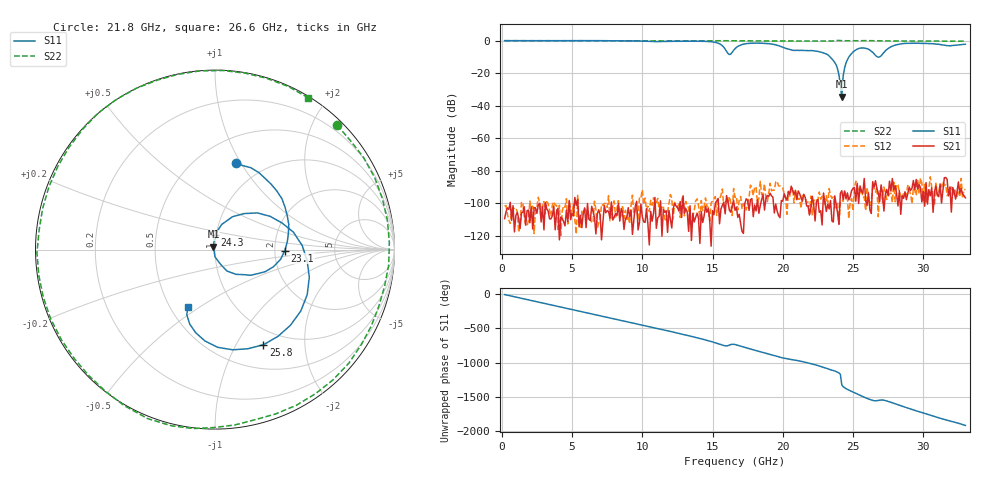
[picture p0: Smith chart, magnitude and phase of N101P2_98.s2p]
# GHZ S RI R 50
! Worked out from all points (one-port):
!   329 points, 200 MHz to 33 GHz, reference 50 ohm
!   lowest |S11| = -34.3 dB at 24.2 GHz (marker M1), VSWR 1.04, Z = 49.1 + j1.66 ohm
!   |S11| at or under -10 dB: 23.37 GHz to 24.71 GHz (1.342 GHz wide, 5.58 % of centre); 26.75 GHz to 26.89 GHz (135.6 MHz wide, 0.506 % of centre)
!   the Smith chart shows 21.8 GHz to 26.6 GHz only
!   S11 on the Smith chart (normalised r, x): 21.8 GHz: 0.75, +0.95; 23.1 GHz: 2.27, -0.03; 24.3 GHz: 0.99, +0.16; 25.8 GHz: 0.79, -1.30; 26.6 GHz: 0.62, -0.45
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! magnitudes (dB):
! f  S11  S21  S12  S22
! 200 MHz  0.0  -109.3  -101.8  0.0
! 5.7 GHz  0.0  -114.9  -104.7  0.0
! 11.2 GHz  -0.6  -107.9  -103.6  -0.1
! 15.1 GHz  -0.9  -107.0  -97.5  -0.1
! 16.2 GHz  -8.5  -104.1  -95.8  -0.1
! 16.6 GHz  -5.0  -104.2  -96.4  -0.1
! 18.4 GHz  -1.5  -101.2  -86.4  -0.2
! 21.8 GHz  -6.1  -101.6  -99.1  -0.2
! 22.1 GHz  -6.1  -95.6  -107.3  -0.2
! 23.1 GHz  -8.2  -105.0  -95.2  -0.2
! 23.8 GHz  -14.8  -100.6  -101.9  0.0
! 24 GHz  -21.1  -112.8  -113.4  0.1
! 24.2 GHz  -34.3  -92.2  -97.9  0.0
! 24.3 GHz  -21.7  -97.4  -98.7  -0.1
! 24.5 GHz  -13.7  -97.1  -94.9  -0.1
! 24.8 GHz  -8.9  -95.8  -98.8  -0.1
! 25.8 GHz  -4.5  -84.6  -96.0  0.0
! 26.6 GHz  -9.1  -86.0  -93.1  -0.1
! 26.9 GHz  -10.0  -98.8  -91.8  -0.1
! 27.6 GHz  -4.3  -86.3  -93.8  -0.1
! 28.9 GHz  -1.6  -94.0  -89.0  -0.2
! 33 GHz  -2.2  -96.6  -91.4  -0.2
